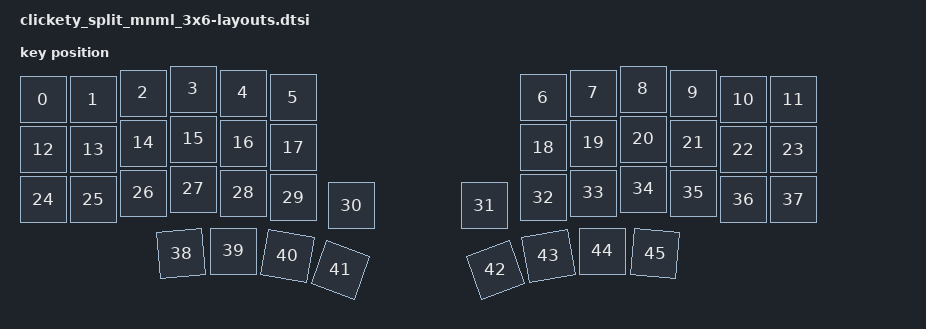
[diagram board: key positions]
/*
 * Copyright (c) 2025 Clickety Split Ltd.
 * SPDX-License-Identifier: MIT
 */

#include <physical_layouts.dtsi>

/ {
    mnml_3x6_layout: mnml_3x6_layout {
        compatible = "zmk,physical-layout";
        display-name = "MNML 3x6";

        /*
         * Physical switch geometry derived from the MNML 3x6 STEP model.
         *
         * Units:
         *   w, h, x, y: centi-keyunits (100 = 1U)
         *   rot:         centidegrees
         *
         * The two halves use a fixed 30 mm visual separation for Studio
         * rendering. This is not a physical constraint on the split keyboard.
         *
         * Keys are listed in the same order as default_transform.
         */
        keys  //                     w   h     x    y      rot    rx    ry

            // Row 0
            = <&key_physical_attrs 100 100     0   21        0     0     0>
            , <&key_physical_attrs 100 100   100   21        0     0     0>
            , <&key_physical_attrs 100 100   200    8        0     0     0>
            , <&key_physical_attrs 100 100   300    0        0     0     0>
            , <&key_physical_attrs 100 100   400    8        0     0     0>
            , <&key_physical_attrs 100 100   500   17        0     0     0>

            , <&key_physical_attrs 100 100  1000   17        0     0     0>
            , <&key_physical_attrs 100 100  1100    8        0     0     0>
            , <&key_physical_attrs 100 100  1200    0        0     0     0>
            , <&key_physical_attrs 100 100  1300    8        0     0     0>
            , <&key_physical_attrs 100 100  1400   21        0     0     0>
            , <&key_physical_attrs 100 100  1500   21        0     0     0>

            // Row 1
            , <&key_physical_attrs 100 100     0  121        0     0     0>
            , <&key_physical_attrs 100 100   100  121        0     0     0>
            , <&key_physical_attrs 100 100   200  108        0     0     0>
            , <&key_physical_attrs 100 100   300  100        0     0     0>
            , <&key_physical_attrs 100 100   400  108        0     0     0>
            , <&key_physical_attrs 100 100   500  117        0     0     0>

            , <&key_physical_attrs 100 100  1000  117        0     0     0>
            , <&key_physical_attrs 100 100  1100  108        0     0     0>
            , <&key_physical_attrs 100 100  1200  100        0     0     0>
            , <&key_physical_attrs 100 100  1300  108        0     0     0>
            , <&key_physical_attrs 100 100  1400  121        0     0     0>
            , <&key_physical_attrs 100 100  1500  121        0     0     0>

            // Row 2, including inner key on each half
            , <&key_physical_attrs 100 100     0  221        0     0     0>
            , <&key_physical_attrs 100 100   100  221        0     0     0>
            , <&key_physical_attrs 100 100   200  208        0     0     0>
            , <&key_physical_attrs 100 100   300  200        0     0     0>
            , <&key_physical_attrs 100 100   400  208        0     0     0>
            , <&key_physical_attrs 100 100   500  217        0     0     0>
            , <&key_physical_attrs 100 100   617  233        0     0     0>

            , <&key_physical_attrs 100 100   883  233        0     0     0>
            , <&key_physical_attrs 100 100  1000  217        0     0     0>
            , <&key_physical_attrs 100 100  1100  208        0     0     0>
            , <&key_physical_attrs 100 100  1200  200        0     0     0>
            , <&key_physical_attrs 100 100  1300  208        0     0     0>
            , <&key_physical_attrs 100 100  1400  221        0     0     0>
            , <&key_physical_attrs 100 100  1500  221        0     0     0>

            // Modifier / thumb row
            , <&key_physical_attrs 100 100   276  329   (-500)   326   379>
            , <&key_physical_attrs 100 100   381  324         0     0     0>
            , <&key_physical_attrs 100 100   489  334      1000   539   384>
            , <&key_physical_attrs 100 100   595  362      2000   645   412>

            , <&key_physical_attrs 100 100   905  362   (-2000)   955   412>
            , <&key_physical_attrs 100 100  1011  334   (-1000)  1061   384>
            , <&key_physical_attrs 100 100  1119  324         0     0     0>
            , <&key_physical_attrs 100 100  1224  329       500  1274   379>
            ;
    };
};
